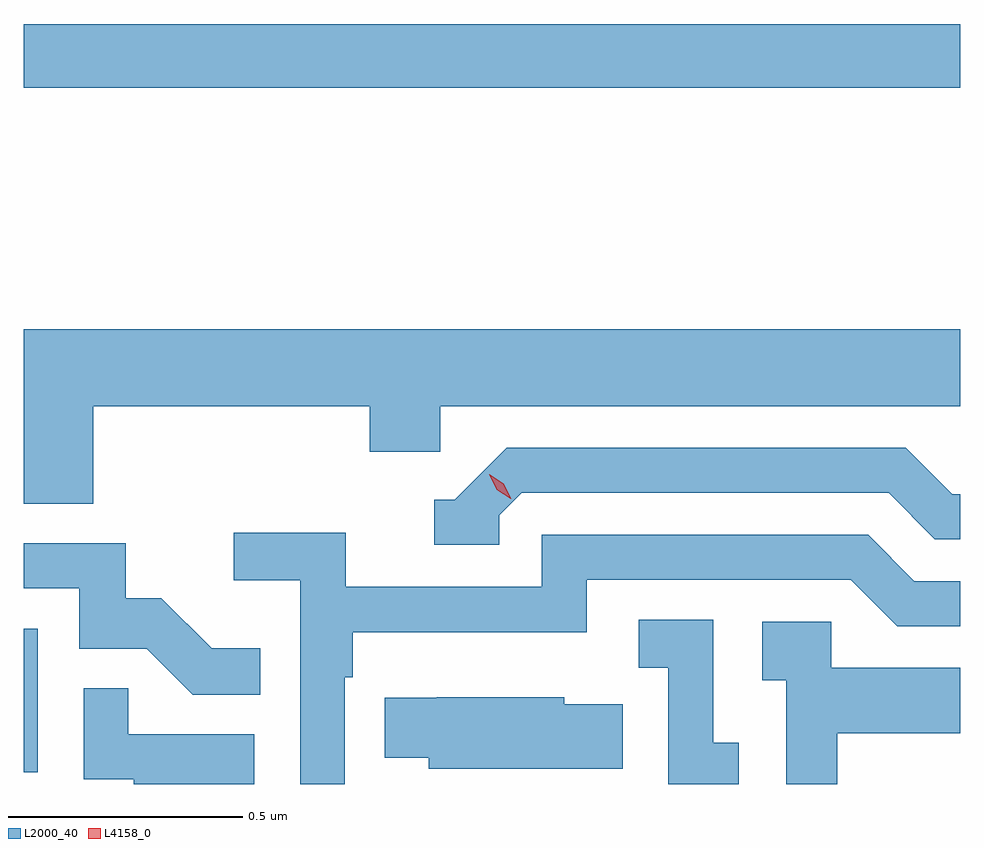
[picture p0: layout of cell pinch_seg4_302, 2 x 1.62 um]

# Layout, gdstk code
import gdstk
lib = gdstk.Library(unit=1e-6, precision=1e-09)
def R(c, l, rs):  # rectangles x0, y0, x1, y1
    for r in rs: c.add(gdstk.rectangle(r[:2], r[2:], *l))
def P(c, l, *ps):  # polygons
    for p in ps: c.add(gdstk.Polygon(p, *l))
L2000_40 = (2000, 40)
L4158_0 = (4158, 0)

pinch_seg4_302 = lib.new_cell('pinch_seg4_302')
R(pinch_seg4_302, L2000_40, [(933.352,804.03,933.382,804.337), (933.352,805.492,935.352,805.628)])
P(pinch_seg4_302, L2000_40, [(933.5,804.812),(934.091,804.812),(934.091,804.714),(934.242,804.714),(934.242,804.812),(935.352,804.812),(935.352,804.976),(933.352,804.976),(933.352,804.604),(933.5,804.604)],
  [(934.368,804.579),(934.416,804.627),(935.199,804.627),(935.298,804.528),(935.352,804.528),(935.352,804.624),(935.335,804.624),(935.236,804.723),(934.383,804.723),(934.272,804.612),(934.229,804.612),(934.229,804.516),(934.368,804.516)],
  [(934.038,804.233),(934.055,804.233),(934.055,804.329),(934.554,804.329),(934.554,804.441),(935.118,804.441),(935.217,804.342),(935.352,804.342),(935.352,804.438),(935.254,804.438),(935.155,804.537),(934.458,804.537),(934.458,804.426),(934.04,804.426),(934.04,804.542),(933.801,804.542),(933.801,804.44),(933.942,804.44),(933.942,804.005),(934.038,804.005)],
  [(933.857,804.295),(933.753,804.295),(933.646,804.402),(933.57,804.402),(933.57,804.519),(933.352,804.519),(933.352,804.423),(933.471,804.423),(933.471,804.294),(933.615,804.294),(933.713,804.196),(933.857,804.196)],
  [(934.879,804.093),(934.824,804.093),(934.824,804.356),(934.665,804.356),(934.665,804.253),(934.728,804.253),(934.728,804.005),(934.879,804.005)],
  [(935.089,804.113),(935.352,804.113),(935.352,804.253),(935.076,804.253),(935.076,804.351),(934.929,804.351),(934.929,804.227),(934.98,804.227),(934.98,804.005),(935.089,804.005)],
  [(933.844,804.111),(933.575,804.111),(933.575,804.209),(933.48,804.209),(933.48,804.015),(933.587,804.015),(933.587,804.005),(933.844,804.005)],
  [(934.631,804.175),(934.506,804.175),(934.506,804.19),(934.234,804.19),(934.234,804.189),(934.123,804.189),(934.123,804.061),(934.217,804.061),(934.217,804.038),(934.631,804.038)])
P(pinch_seg4_302, L4158_0, [(934.392,804.614),(934.362,804.633),(934.346,804.665),(934.346,804.666),(934.346,804.666),(934.377,804.646),(934.393,804.614),(934.393,804.614)])

lib.write_gds('pinch_seg4_302.gds')
